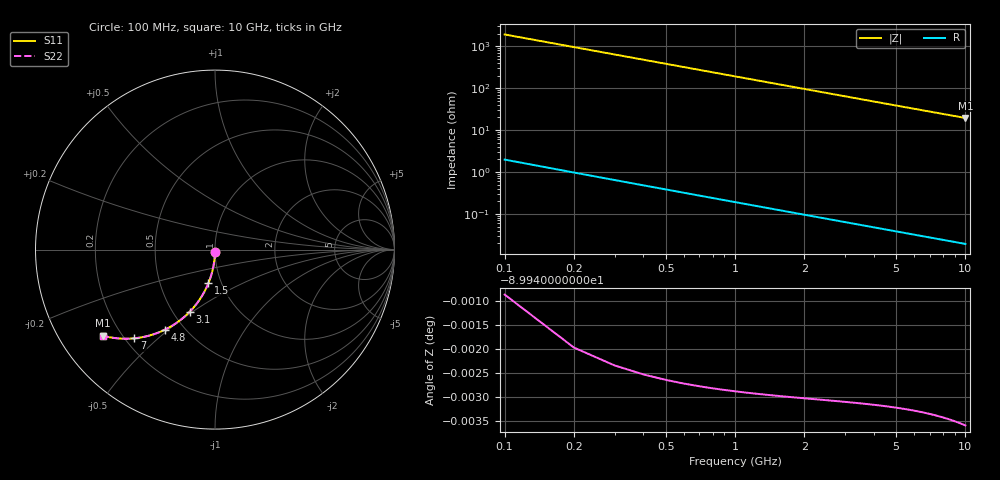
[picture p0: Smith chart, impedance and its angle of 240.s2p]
# Hz S RI R 50.00
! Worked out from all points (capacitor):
!   100 points, 100 MHz to 10 GHz, reference 50 ohm
!   read as one part in shunt: C = 830 fF near 100 MHz
!   lowest |Z| = 19.5 ohm at 10 GHz (marker M1)
!   S11 on the Smith chart (normalised r, x): 100 MHz: 1.00, -0.03; 1.5 GHz: 0.87, -0.34; 3.1 GHz: 0.61, -0.49; 4.8 GHz: 0.39, -0.49; 7 GHz: 0.24, -0.42; 10 GHz: 0.13, -0.33
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1e8  -0.000175 -0.013  0.9998 -0.0131  0.9998 -0.0131  -0.000175 -0.013
2e8  -0.000697 -0.026  0.9993 -0.0261  0.9993 -0.0261  -0.000697 -0.026
3e8  -0.00156 -0.0389  0.9984 -0.0392  0.9984 -0.0392  -0.00156 -0.0389
4e8  -0.00275 -0.0518  0.9972 -0.0521  0.9972 -0.0521  -0.00275 -0.0518
5e8  -0.00428 -0.0647  0.9957 -0.0651  0.9957 -0.0651  -0.00428 -0.0647
6e8  -0.00615 -0.0775  0.9938 -0.0779  0.9938 -0.0779  -0.00615 -0.0775
7e8  -0.00833 -0.0902  0.9916 -0.0907  0.9916 -0.0907  -0.00833 -0.0902
9e8  -0.0137 -0.1153  0.9863 -0.116  0.9863 -0.116  -0.0137 -0.1153
1.2e9  -0.024 -0.1521  0.976 -0.153  0.976 -0.153  -0.024 -0.1521
1.5e9  -0.0369 -0.1875  0.9631 -0.1886  0.9631 -0.1886  -0.0369 -0.1875
1.8e9  -0.0522 -0.2213  0.9478 -0.2227  0.9478 -0.2227  -0.0522 -0.2213
2.4e9  -0.089 -0.2833  0.911 -0.2852  0.911 -0.2852  -0.089 -0.2833
3.1e9  -0.1398 -0.3451  0.8602 -0.3475  0.8602 -0.3475  -0.1398 -0.3451
3.4e9  -0.1634 -0.3679  0.8366 -0.3705  0.8366 -0.3705  -0.1634 -0.3679
4.1e9  -0.2207 -0.4127  0.7792 -0.4158  0.7792 -0.4158  -0.2207 -0.4127
4.8e9  -0.2792 -0.4463  0.7208 -0.45  0.7208 -0.45  -0.2792 -0.4463
5.1e9  -0.3041 -0.4576  0.6959 -0.4615  0.6959 -0.4615  -0.3041 -0.4576
5.9e9  -0.3684 -0.4796  0.6315 -0.4842  0.6315 -0.4842  -0.3684 -0.4796
6.7e9  -0.4288 -0.4918  0.5712 -0.497  0.5712 -0.497  -0.4288 -0.4918
7e9  -0.4502 -0.4943  0.5498 -0.4997  0.5498 -0.4997  -0.4502 -0.4943
8.4e9  -0.5403 -0.4946  0.4596 -0.5012  0.4596 -0.5012  -0.5403 -0.4946
1e10  -0.6242 -0.4799  0.3757 -0.4878  0.3757 -0.4878  -0.6242 -0.4799
